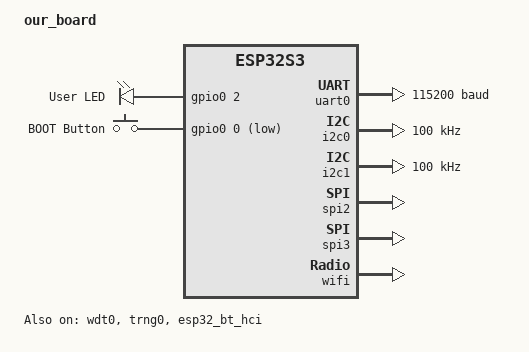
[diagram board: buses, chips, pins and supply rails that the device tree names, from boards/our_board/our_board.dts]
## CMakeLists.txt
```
cmake_minimum_required(VERSION 3.20.0)

list(APPEND BOARD_ROOT ${CMAKE_CURRENT_SOURCE_DIR})
list(APPEND ZEPHYR_EXTRA_MODULES ${CMAKE_CURRENT_SOURCE_DIR}/../our-driver-module)
find_package(Zephyr REQUIRED)
project(my_zephyr_app)

target_sources(app PRIVATE src/main.c)
```

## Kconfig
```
config APP_HEARTBEAT_PERIOD_MS
	int "Heartbeat period (ms)"
	default 500
	range 100 2000
	help
	  Heartbeat period (in milliseconds) for blinking the LED.

source "Kconfig.zephyr"
```

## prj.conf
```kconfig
CONFIG_GPIO=y
CONFIG_SENSOR=y
CONFIG_OUR_DRIVER=y
CONFIG_LOG=y
CONFIG_SHELL=y
```

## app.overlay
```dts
#include <zephyr/dt-bindings/gpio/gpio.h>

/ {
	led_sensor: led_sensor {
		compatible = "our,driver";
		led-gpios = <&gpio0 13 GPIO_ACTIVE_HIGH>;
		status = "okay";
	};
};
```

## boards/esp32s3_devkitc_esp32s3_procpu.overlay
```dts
#include <zephyr/dt-bindings/gpio/gpio.h>

/ {
	aliases {
		led0 = &status_led;
	};

	leds {
		compatible = "gpio-leds";
		led0: status_led: led_0 {
			gpios = <&gpio0 2 GPIO_ACTIVE_HIGH>;
			label = "User LED";
		};
	};
};
```

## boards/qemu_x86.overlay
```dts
#include <zephyr/dt-bindings/gpio/gpio.h>

/ {
	gpio_emul: gpio_emul {
		compatible = "zephyr,gpio-emul";
		gpio-controller;
		#gpio-cells = <2>;
		rising-edge;
		falling-edge;
		high-level;
		low-level;
	};

	aliases {
		led0 = &led0;
	};

	leds {
		compatible = "gpio-leds";
		led0: led_0 {
			gpios = <&gpio_emul 0 GPIO_ACTIVE_HIGH>;
			label = "LED 0";
		};
	};
};
```

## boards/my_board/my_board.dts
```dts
/* SPDX-License-Identifier: Apache-2.0 */

/dts-v1/;

#include <mem.h>

#ifndef DT_DRAM_BASE
#define DT_DRAM_BASE		0
#endif
#ifndef DT_DRAM_SIZE
#define DT_DRAM_SIZE		DT_SIZE_M(32)
#endif
#define DT_FLASH_SIZE		DT_SIZE_K(4096)

#include <intel/atom.dtsi>
#include <zephyr/dt-bindings/gpio/gpio.h>

/ {
	model = "My Custom QEMU X86 Board";
	compatible = "qemu,x86_emulator";

	flash0: flash@500000 {
		compatible = "soc-nv-flash";
		reg = <0x00500000 DT_FLASH_SIZE>;
	};

	gpio_emul: gpio_emul {
		compatible = "zephyr,gpio-emul";
		gpio-controller;
		#gpio-cells = <2>;
		rising-edge;
		falling-edge;
		high-level;
		low-level;
	};

	aliases {
		uart-0 = &uart0;
		rtc = &rtc;
		led0 = &led0;
	};

	leds {
		compatible = "gpio-leds";
		led0: led_0 {
			gpios = <&gpio_emul 0 GPIO_ACTIVE_HIGH>;
			label = "LED 0";
		};
	};

	chosen {
		zephyr,sram = &dram0;
		zephyr,flash = &flash0;
		zephyr,console = &uart0;
		zephyr,shell-uart = &uart0;
	};
};

&uart0 {
	status = "okay";
	current-speed = <115200>;
};

&hpet {
	status = "okay";
};

&cpu {
	compatible = "intel,x86";
};
```

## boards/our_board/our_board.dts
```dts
/*
 * Copyright (c) 2024 Espressif Systems (Shanghai) Co., Ltd.
 *
 * SPDX-License-Identifier: Apache-2.0
 */
/dts-v1/;

#include <espressif/esp32s3/esp32s3_wroom_n8.dtsi>
#include <zephyr/dt-bindings/input/input-event-codes.h>
#include <zephyr/dt-bindings/input/esp32-touch-sensor-input.h>
#include <espressif/partitions_0x0_amp.dtsi>
#include "esp32s3_devkitc-pinctrl.dtsi"

/ {
	model = "our_board";
	compatible = "espressif,esp32s3";

	aliases {
		i2c-0 = &i2c0;
		watchdog0 = &wdt0;
	};

	chosen {
		zephyr,sram = &sram1;
		zephyr,console = &uart0;
		zephyr,shell-uart = &uart0;
		zephyr,flash = &flash0;
		zephyr,code-partition = &slot0_partition;
		zephyr,bt-hci = &esp32_bt_hci;
	};

	aliases {
		uart-0 = &uart0;
		sw0 = &button0;
		led0 = &status_led;
	};

	leds {
		compatible = "gpio-leds";
		led0: status_led: led_0 {
			gpios = <&gpio0 2 GPIO_ACTIVE_HIGH>;
			label = "User LED";
		};
	};

	buttons {
		compatible = "gpio-keys";
		button0: button_0 {
			gpios = <&gpio0 0 (GPIO_PULL_UP | GPIO_ACTIVE_LOW)>;
			label = "BOOT Button";
			zephyr,code = <INPUT_KEY_0>;
		};
	};
};

&usb_serial {
	status = "disabled";
};

&uart0 {
	status = "okay";
	current-speed = <115200>;
	pinctrl-0 = <&uart0_default>;
	pinctrl-names = "default";
};

&gpio0 {
	status = "okay";
};

&gpio1 {
	status = "okay";
};

&touch {
	debounce-interval-ms = <30>;
	href-microvolt = <2700000>;
	lref-microvolt = <500000>;
	href-atten-microvolt = <1000000>;
	filter-mode = <ESP32_TOUCH_FILTER_MODE_IIR_16>;
	filter-debounce-cnt = <1>;
	filter-noise-thr = <ESP32_TOUCH_FILTER_NOISE_THR_4_8TH>;
	filter-jitter-step = <4>;
	filter-smooth-level = <ESP32_TOUCH_FILTER_SMOOTH_MODE_IIR_2>;
};

&i2c0 {
	clock-frequency = <I2C_BITRATE_STANDARD>;
	pinctrl-0 = <&i2c0_default>;
	pinctrl-names = "default";
};

&i2c1 {
	clock-frequency = <I2C_BITRATE_STANDARD>;
	pinctrl-0 = <&i2c1_default>;
	pinctrl-names = "default";
};

&i2s0 {
	pinctrl-0 = <&i2s0_default>;
	pinctrl-names = "default";
	status = "disabled";
};

&i2s1 {
	pinctrl-0 = <&i2s1_default>;
	pinctrl-names = "default";
	status = "disabled";
};

&spi2 {
	#address-cells = <1>;
	#size-cells = <0>;
	status = "okay";
	pinctrl-0 = <&spim2_default>;
	pinctrl-names = "default";
};

&spi3 {
	#address-cells = <1>;
	#size-cells = <0>;
	status = "okay";
	pinctrl-0 = <&spim3_default>;
	pinctrl-names = "default";
};

&twai {
	pinctrl-0 = <&twai_default>;
	pinctrl-names = "default";
};

&timer0 {
	status = "disabled";
};

&timer1 {
	status = "disabled";
};

&timer2 {
	status = "disabled";
};

&timer3 {
	status = "disabled";
};

&wdt0 {
	status = "okay";
};

&trng0 {
	status = "okay";
};

&esp32_bt_hci {
	status = "okay";
};

&wifi {
	status = "okay";
};
```

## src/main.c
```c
#include <zephyr/kernel.h>
#include <zephyr/drivers/sensor.h>
#include <zephyr/shell/shell.h>
#include <our_drivers/our_driver.h>

/* Retrieve the device handle */
static const struct device *dev = DEVICE_DT_GET_ANY(our_driver);

/* 1. Subcommand handler: fetch */
static int cmd_sensor_fetch(const struct shell *sh, size_t argc, char **argv)
{
	ARG_UNUSED(argc);
	ARG_UNUSED(argv);

	if (!device_is_ready(dev)) {
		shell_error(sh, "Device not ready");
		return -ENODEV;
	}

	int ret = sensor_sample_fetch(dev);
	if (ret == 0) {
		shell_print(sh, "Sample fetched successfully (LED ON)");
	} else {
		shell_error(sh, "Failed to fetch sample: %d", ret);
	}
	return ret;
}

/* 2. Subcommand handler: read */
static int cmd_sensor_read(const struct shell *sh, size_t argc, char **argv)
{
	ARG_UNUSED(argc);
	ARG_UNUSED(argv);

	if (!device_is_ready(dev)) {
		shell_error(sh, "Device not ready");
		return -ENODEV;
	}

	struct sensor_value val;
	int ret = sensor_channel_get(dev, SENSOR_CHAN_ALL, &val);
	if (ret == 0) {
		shell_print(sh, "Sensor value read successfully (LED OFF)");
	} else {
		shell_error(sh, "Failed to read channel: %d", ret);
	}
	return ret;
}

/* 3. Subcommand handler: info */
static int cmd_sensor_info(const struct shell *sh, size_t argc, char **argv)
{
	ARG_UNUSED(argc);
	ARG_UNUSED(argv);

	bool ready = device_is_ready(dev);
	shell_print(sh, "Device Name: %s", dev ? dev->name : "Unknown");
	shell_print(sh, "Ready State: %s", ready ? "Ready" : "Not Ready");

	return 0;
}

/* 4. Subcommand handler: set <value> */
static int cmd_sensor_set(const struct shell *sh, size_t argc, char **argv)
{
	ARG_UNUSED(argc);

	if (!device_is_ready(dev)) {
		shell_error(sh, "Device not ready");
		return -ENODEV;
	}

	int err = 0;
	/* Parse integer argument from argv[1] */
	long val = shell_strtol(argv[1], 10, &err);

	if (err != 0) {
		shell_error(sh, "Invalid argument: %s is not a valid integer", argv[1]);
		return -EINVAL;
	}

	/* Range validation (e.g., allowed range: 0 to 10000) */
	if (val < 0 || val > 10000) {
		shell_error(sh, "Argument out of range: %ld (Allowed: 0 - 10000)", val);
		return -ERANGE;
	}

	/* Call the custom driver extension API */
	int ret = our_driver_set_param(dev, (uint32_t)val);
	if (ret == 0) {
		shell_print(sh, "Driver parameter successfully updated to: %ld", val);
	} else {
		shell_error(sh, "Failed to set parameter: %d", ret);
	}

	return ret;
}

/* Define static subcommand set */
SHELL_STATIC_SUBCMD_SET_CREATE(sub_sensor,
	SHELL_CMD(fetch, NULL, "Call sensor_sample_fetch()", cmd_sensor_fetch),
	SHELL_CMD(read,  NULL, "Call sensor_channel_get() and print result", cmd_sensor_read),
	SHELL_CMD(info,  NULL, "Print device name and ready state", cmd_sensor_info),

	/* Enforce argument count: 2 mandatory ("set", "<value>"), 0 optional */
	SHELL_CMD_ARG(set, NULL, "Set custom driver parameter <value>", cmd_sensor_set, 2, 0),

	SHELL_SUBCMD_SET_END
);

/* Register root command 'sensor' */
SHELL_CMD_REGISTER(sensor, &sub_sensor, "Sensor driver shell commands", NULL);

int main(void)
{
	return 0;
}
```

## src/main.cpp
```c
#include <zephyr/kernel.h>
#include <zephyr/drivers/sensor.h>
#include <zephyr/shell/shell.h>

/* Retrieve the device handle */
static const struct device *dev = DEVICE_DT_GET_ANY(our_driver);

/* 1. Subcommand handler: fetch */
static int cmd_sensor_fetch(const struct shell *sh, size_t argc, char **argv)
{
	ARG_UNUSED(argc);
	ARG_UNUSED(argv);

	if (!device_is_ready(dev)) {
		shell_error(sh, "Device not ready");
		return -ENODEV;
	}

	int ret = sensor_sample_fetch(dev);
	if (ret == 0) {
		shell_print(sh, "Sample fetched successfully (LED ON)");
	} else {
		shell_error(sh, "Failed to fetch sample: %d", ret);
	}
	return ret;
}

/* 2. Subcommand handler: read */
static int cmd_sensor_read(const struct shell *sh, size_t argc, char **argv)
{
	ARG_UNUSED(argc);
	ARG_UNUSED(argv);

	if (!device_is_ready(dev)) {
		shell_error(sh, "Device not ready");
		return -ENODEV;
	}

	struct sensor_value val;
	int ret = sensor_channel_get(dev, SENSOR_CHAN_ALL, &val);
	if (ret == 0) {
		shell_print(sh, "Sensor value read successfully (LED OFF)");
	} else {
		shell_error(sh, "Failed to read channel: %d", ret);
	}
	return ret;
}

/* 3. Subcommand handler: info */
static int cmd_sensor_info(const struct shell *sh, size_t argc, char **argv)
{
	ARG_UNUSED(argc);
	ARG_UNUSED(argv);

	bool ready = device_is_ready(dev);
	shell_print(sh, "Device Name: %s", dev ? dev->name : "Unknown");
	shell_print(sh, "Ready State: %s", ready ? "Ready" : "Not Ready");

	return 0;
}

/* Define static subcommand set */
SHELL_STATIC_SUBCMD_SET_CREATE(sub_sensor,
	SHELL_CMD(fetch, NULL, "Call sensor_sample_fetch()", cmd_sensor_fetch),
	SHELL_CMD(read,  NULL, "Call sensor_channel_get() and print result", cmd_sensor_read),
	SHELL_CMD(info,  NULL, "Print device name and ready state", cmd_sensor_info),
	SHELL_SUBCMD_SET_END
);

/* Register root command 'sensor' */
SHELL_CMD_REGISTER(sensor, &sub_sensor, "Sensor driver shell commands", NULL);

int main(void)
{
	return 0;
}
```
